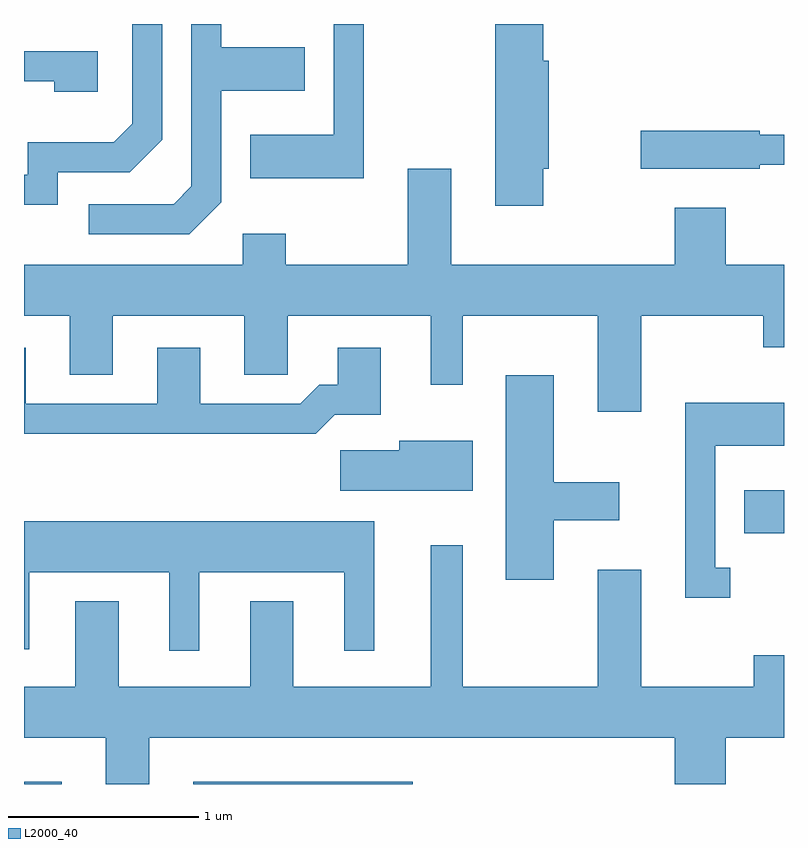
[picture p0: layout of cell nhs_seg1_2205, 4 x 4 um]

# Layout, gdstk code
import gdstk
lib = gdstk.Library(unit=1e-6, precision=1e-09)
def R(c, l, rs):  # rectangles x0, y0, x1, y1
    for r in rs: c.add(gdstk.rectangle(r[:2], r[2:], *l))
def P(c, l, *ps):  # polygons
    for p in ps: c.add(gdstk.Polygon(p, *l))
L2000_40 = (2000, 40)

nhs_seg1_2205 = lib.new_cell('nhs_seg1_2205')
R(nhs_seg1_2205, L2000_40, [(251.611,963.712,251.809,963.724), (252.501,963.712,253.658,963.724), (255.401,965.031,255.611,965.259)])
P(nhs_seg1_2205, L2000_40, [(252.649,966.774),(252.649,967.361),(253.089,967.361),(253.089,967.589),(252.649,967.589),(252.649,967.712),(252.491,967.712),(252.491,966.857),(252.399,966.764),(251.953,966.764),(251.953,966.606),(252.482,966.606)],
  [(253.399,967.712),(253.241,967.712),(253.241,967.129),(252.801,967.129),(252.801,966.901),(253.399,966.901)],
  [(254.344,966.951),(254.374,966.951),(254.374,967.519),(254.344,967.519),(254.344,967.712),(254.091,967.712),(254.091,966.756),(254.344,966.756)],
  [(251.789,966.931),(252.167,966.931),(252.339,967.104),(252.339,967.712),(252.181,967.712),(252.181,967.187),(252.084,967.089),(251.631,967.089),(251.631,966.919),(251.611,966.919),(251.611,966.761),(251.789,966.761)],
  [(251.999,967.569),(251.611,967.569),(251.611,967.411),(251.771,967.411),(251.771,967.356),(251.999,967.356)],
  [(255.484,966.971),(255.611,966.971),(255.611,967.129),(255.484,967.129),(255.484,967.149),(254.856,967.149),(254.856,966.951),(255.484,966.951)],
  [(254.859,966.176),(255.501,966.176),(255.501,966.011),(255.611,966.011),(255.611,966.444),(255.304,966.444),(255.304,966.744),(255.036,966.744),(255.036,966.444),(253.859,966.444),(253.859,966.949),(253.631,966.949),(253.631,966.444),(252.989,966.444),(252.989,966.609),(252.761,966.609),(252.761,966.444),(251.611,966.444),(251.611,966.176),(251.851,966.176),(251.851,965.866),(252.079,965.866),(252.079,966.176),(252.771,966.176),(252.771,965.866),(252.999,965.866),(252.999,966.176),(253.751,966.176),(253.751,965.813),(253.919,965.813),(253.919,966.176),(254.631,966.176),(254.631,965.671),(254.859,965.671)],
  [(253.247,965.656),(253.489,965.656),(253.489,966.009),(253.261,966.009),(253.261,965.814),(253.164,965.814),(253.064,965.714),(252.539,965.714),(252.539,966.009),(252.311,966.009),(252.311,965.714),(251.619,965.714),(251.619,966.009),(251.611,966.009),(251.611,965.556),(253.147,965.556)],
  [(254.399,965.101),(254.744,965.101),(254.744,965.299),(254.399,965.299),(254.399,965.864),(254.146,965.864),(254.146,964.786),(254.399,964.786)],
  [(255.328,964.849),(255.249,964.849),(255.249,965.491),(255.611,965.491),(255.611,965.719),(255.091,965.719),(255.091,964.691),(255.328,964.691)],
  [(253.974,965.519),(253.586,965.519),(253.586,965.469),(253.276,965.469),(253.276,965.256),(253.974,965.256)],
  [(252.534,964.826),(253.296,964.826),(253.296,964.413),(253.454,964.413),(253.454,965.094),(251.611,965.094),(251.611,964.421),(251.639,964.421),(251.639,964.826),(252.376,964.826),(252.376,964.413),(252.534,964.413)],
  [(255.036,963.712),(255.304,963.712),(255.304,963.956),(255.611,963.956),(255.611,964.389),(255.451,964.389),(255.451,964.224),(254.859,964.224),(254.859,964.839),(254.631,964.839),(254.631,964.224),(253.919,964.224),(253.919,964.968),(253.751,964.968),(253.751,964.224),(253.029,964.224),(253.029,964.674),(252.801,964.674),(252.801,964.224),(252.109,964.224),(252.109,964.674),(251.881,964.674),(251.881,964.224),(251.611,964.224),(251.611,963.956),(252.041,963.956),(252.041,963.712),(252.269,963.712),(252.269,963.956),(255.036,963.956)])

lib.write_gds('nhs_seg1_2205.gds')
